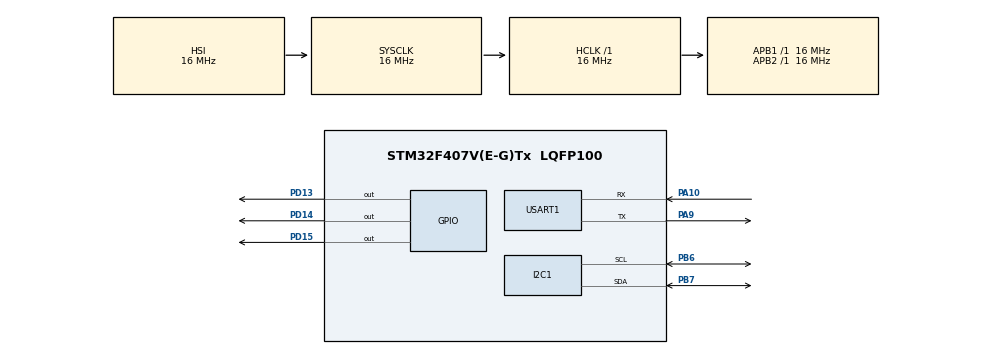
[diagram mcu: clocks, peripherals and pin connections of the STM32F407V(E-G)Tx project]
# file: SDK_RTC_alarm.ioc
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Mcu.Family=STM32F4
Mcu.Name=STM32F407V(E-G)Tx
Mcu.Package=LQFP100
NVIC.I2C1_ER_IRQn=true\:0\:0\:false\:false\:true\:true\:true
NVIC.I2C1_EV_IRQn=true\:0\:0\:false\:false\:true\:true\:true
NVIC.PriorityGroup=NVIC_PRIORITYGROUP_4
NVIC.RTC_Alarm_IRQn=true\:0\:0\:false\:false\:true\:true\:true
NVIC.USART1_IRQn=true\:0\:0\:false\:false\:true\:true\:true
PA10.Mode=Asynchronous
PA10.Signal=USART1_RX
PA13.Mode=JTAG_5_pins
PA13.Signal=SYS_JTMS-SWDIO
PA14.Mode=JTAG_5_pins
PA14.Signal=SYS_JTCK-SWCLK
PA15.Mode=JTAG_5_pins
PA15.Signal=SYS_JTDI
PA9.Mode=Asynchronous
PA9.Signal=USART1_TX
PB3.Mode=JTAG_5_pins
PB3.Signal=SYS_JTDO-SWO
PB4.Mode=JTAG_5_pins
PB4.Signal=SYS_JTRST
PB6.Mode=I2C
PB6.Signal=I2C1_SCL
PB7.Mode=I2C
PB7.Signal=I2C1_SDA
PC14-OSC32_IN.Mode=LSE-External-Oscillator
PC14-OSC32_IN.Signal=RCC_OSC32_IN
PC15-OSC32_OUT.Mode=LSE-External-Oscillator
PC15-OSC32_OUT.Signal=RCC_OSC32_OUT
PD13.GPIO_Speed=GPIO_SPEED_FREQ_HIGH
PD13.Signal=GPIO_Output
PD14.GPIO_Speed=GPIO_SPEED_FREQ_HIGH
PD14.Signal=GPIO_Output
PD15.GPIO_Speed=GPIO_SPEED_FREQ_HIGH
PD15.Signal=GPIO_Output
ProjectManager.HeapSize=0x200
ProjectManager.StackSize=0x400
ProjectManager.TargetToolchain=SW4STM32
RCC.AHBFreq_Value=16000000
RCC.APB1Freq_Value=16000000
RCC.APB2Freq_Value=16000000
RCC.CortexFreq_Value=16000000
RCC.HSE_VALUE=25000000
RCC.HSI_VALUE=16000000
RCC.SYSCLKFreq_VALUE=16000000
RCC.VCOOutputFreq_Value=192000000
RTC.Alarm=RTC_ALARM_A
RTC.Alarm_B=RTC_ALARM_B
RTC.Format=RTC_FORMAT_BIN
RTC.Seconds_A=15
RTC.Seconds_B=20
USART1.VirtualMode=VM_ASYNC
VP_RTC_VS_RTC_Activate.Mode=RTC_Enabled
VP_RTC_VS_RTC_Alarm_A_Intern.Mode=Alarm A
VP_RTC_VS_RTC_Alarm_B_Intern.Mode=Alarm B
VP_RTC_VS_RTC_Calendar.Mode=RTC_Calendar
board=custom

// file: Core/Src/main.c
/* USER CODE BEGIN Header */
/**
  ******************************************************************************
  * @file           : main.c
  * @brief          : Main program body
  ******************************************************************************
  ** This notice applies to any and all portions of this file
  * that are not between comment pairs USER CODE BEGIN and
  * USER CODE END. Other portions of this file, whether
  * inserted by the user or by software development tools
  * are owned by their respective copyright owners.
  *
  * COPYRIGHT(c) 2019 STMicroelectronics
  *
  * Redistribution and use in source and binary forms, with or without modification,
  * are permitted provided that the following conditions are met:
  *   1. Redistributions of source code must retain the above copyright notice,
  *      this list of conditions and the following disclaimer.
  *   2. Redistributions in binary form must reproduce the above copyright notice,
  *      this list of conditions and the following disclaimer in the documentation
  *      and/or other materials provided with the distribution.
  *   3. Neither the name of STMicroelectronics nor the names of its contributors
  *      may be used to endorse or promote products derived from this software
  *      without specific prior written permission.
  *
  * THIS SOFTWARE IS PROVIDED BY THE COPYRIGHT HOLDERS AND CONTRIBUTORS "AS IS"
  * AND ANY EXPRESS OR IMPLIED WARRANTIES, INCLUDING, BUT NOT LIMITED TO, THE
  * IMPLIED WARRANTIES OF MERCHANTABILITY AND FITNESS FOR A PARTICULAR PURPOSE ARE
  * DISCLAIMED. IN NO EVENT SHALL THE COPYRIGHT HOLDER OR CONTRIBUTORS BE LIABLE
  * FOR ANY DIRECT, INDIRECT, INCIDENTAL, SPECIAL, EXEMPLARY, OR CONSEQUENTIAL
  * DAMAGES (INCLUDING, BUT NOT LIMITED TO, PROCUREMENT OF SUBSTITUTE GOODS OR
  * SERVICES; LOSS OF USE, DATA, OR PROFITS; OR BUSINESS INTERRUPTION) HOWEVER
  * CAUSED AND ON ANY THEORY OF LIABILITY, WHETHER IN CONTRACT, STRICT LIABILITY,
  * OR TORT (INCLUDING NEGLIGENCE OR OTHERWISE) ARISING IN ANY WAY OUT OF THE USE
  * OF THIS SOFTWARE, EVEN IF ADVISED OF THE POSSIBILITY OF SUCH DAMAGE.
  *
  ******************************************************************************
  */
/* USER CODE END Header */

#include "main.h"
#include "i2c.h"
#include "rtc.h"
#include "usart.h"
#include "gpio.h"
#include "stdio.h"
#include "oled.h"
#include "fonts.h"
#include "string.h"

/* USER CODE BEGIN PV */
  RTC_TimeTypeDef sTime = {0};
  RTC_DateTypeDef sDate = {0};
  RTC_AlarmTypeDef sAlarm = {0};
  uint8_t wake = 1, stop = 1;
  uint32_t count =1;
  char countch[3], wakech[3], stopch[3];
/* USER CODE END PV */

void SystemClock_Config(void);

int main(void)
{

  /* MCU Configuration--------------------------------------------------------*/

  /* Reset of all peripherals, Initializes the Flash interface and the Systick. */
  HAL_Init();

  /* Configure the system clock */
  SystemClock_Config();

  /* Initialize all configured peripherals */
  MX_GPIO_Init();
  MX_RTC_Init();
  MX_USART1_UART_Init();
  MX_I2C1_Init();
  oled_Init();
  oled_SetCursor(0,0);
  oled_WriteString("WAKE", Font_16x26, White);
  oled_UpdateScreen();

  /* Infinite loop */
  /* USER CODE BEGIN WHILE */
  while (1)
  {
	  for(uint8_t i=0;i<30;i++)
	  {
	  	  HAL_GPIO_TogglePin(GPIOD,GPIO_PIN_13);
	  	  sprintf(countch, "%d", count);
	  	  oled_SetCursor(100,53);
	  	  oled_WriteString(countch, Font_7x10, White);
	  	  oled_UpdateScreen();
	  	  count++;
	  	  HAL_Delay(500);
	  }
	  oled_Fill(Black);
	  oled_SetCursor(0,0);
	  oled_WriteString("STOP", Font_16x26, White);
	  sprintf(stopch, "%d", stop);
	  oled_SetCursor(0,32);
	  oled_WriteString(stopch, Font_16x26, White);
	  oled_SetCursor(100,53);
	  oled_WriteString(countch, Font_7x10, White);
	  oled_UpdateScreen();
	  stop++;
	  HAL_GPIO_TogglePin(GPIOD,GPIO_PIN_15);
	  HAL_PWR_EnterSTOPMode(PWR_MAINREGULATOR_ON,PWR_SLEEPENTRY_WFE); //Sleep mode entry
    /* USER CODE END WHILE */

  }
}

void SystemClock_Config(void)
{
  RCC_OscInitTypeDef RCC_OscInitStruct = {0};
  RCC_ClkInitTypeDef RCC_ClkInitStruct = {0};
  RCC_PeriphCLKInitTypeDef PeriphClkInitStruct = {0};

  /** Configure the main internal regulator output voltage
  */
  __HAL_RCC_PWR_CLK_ENABLE();
  __HAL_PWR_VOLTAGESCALING_CONFIG(PWR_REGULATOR_VOLTAGE_SCALE1);
  /** Initializes the CPU, AHB and APB busses clocks
  */
  RCC_OscInitStruct.OscillatorType = RCC_OSCILLATORTYPE_HSI|RCC_OSCILLATORTYPE_LSI;
  RCC_OscInitStruct.HSIState = RCC_HSI_ON;
  RCC_OscInitStruct.HSICalibrationValue = RCC_HSICALIBRATION_DEFAULT;
  RCC_OscInitStruct.LSIState = RCC_LSI_ON;
  RCC_OscInitStruct.PLL.PLLState = RCC_PLL_NONE;
  if (HAL_RCC_OscConfig(&RCC_OscInitStruct) != HAL_OK)
  {
    Error_Handler();
  }
  /** Initializes the CPU, AHB and APB busses clocks
  */
  RCC_ClkInitStruct.ClockType = RCC_CLOCKTYPE_HCLK|RCC_CLOCKTYPE_SYSCLK
                              |RCC_CLOCKTYPE_PCLK1|RCC_CLOCKTYPE_PCLK2;
  RCC_ClkInitStruct.SYSCLKSource = RCC_SYSCLKSOURCE_HSI;
  RCC_ClkInitStruct.AHBCLKDivider = RCC_SYSCLK_DIV1;
  RCC_ClkInitStruct.APB1CLKDivider = RCC_HCLK_DIV1;
  RCC_ClkInitStruct.APB2CLKDivider = RCC_HCLK_DIV1;

  if (HAL_RCC_ClockConfig(&RCC_ClkInitStruct, FLASH_LATENCY_0) != HAL_OK)
  {
    Error_Handler();
  }
  PeriphClkInitStruct.PeriphClockSelection = RCC_PERIPHCLK_RTC;
  PeriphClkInitStruct.RTCClockSelection = RCC_RTCCLKSOURCE_LSI;
  if (HAL_RCCEx_PeriphCLKConfig(&PeriphClkInitStruct) != HAL_OK)
  {
    Error_Handler();
  }
}

/* USER CODE BEGIN 4 */
void HAL_RTC_AlarmAEventCallback (RTC_HandleTypeDef *hrtc)
{
	HAL_GPIO_TogglePin(GPIOD,GPIO_PIN_15);
	oled_Fill(Black);
	oled_SetCursor(0,0);
	oled_WriteString("WAKE UP", Font_16x26, White);
	sprintf(wakech, "%d", wake);
	wake++;
	oled_SetCursor(0,32);
	oled_WriteString(wakech, Font_16x26, White);
	oled_UpdateScreen();
}

/* USER CODE END 4 */

void Error_Handler(void)
{
}

/************************ (C) COPYRIGHT STMicroelectronics *****END OF FILE****/
